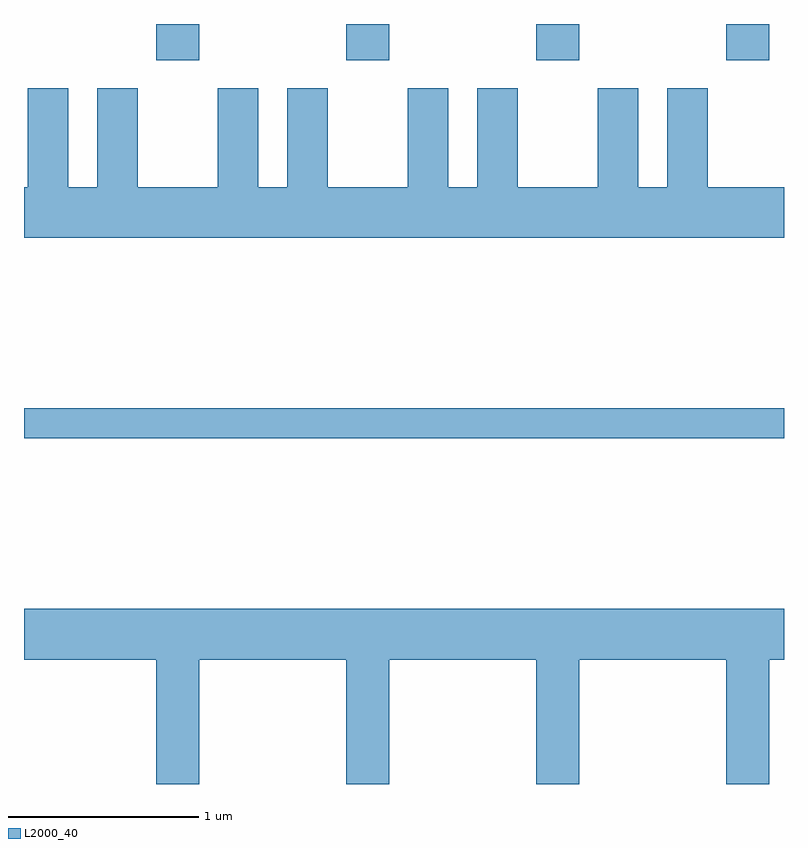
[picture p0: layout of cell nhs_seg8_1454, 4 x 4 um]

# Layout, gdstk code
import gdstk
lib = gdstk.Library(unit=1e-6, precision=1e-09)
def R(c, l, rs):  # rectangles x0, y0, x1, y1
    for r in rs: c.add(gdstk.rectangle(r[:2], r[2:], *l))
def A(c, l, x, y, w, h, nx, ny, dx, dy):  # array of equal rectangles
    R(c, l, [(x+i*dx, y+j*dy, x+i*dx+w, y+j*dy+h) for i in range(nx) for j in range(ny)])
def P(c, l, *ps):  # polygons
    for p in ps: c.add(gdstk.Polygon(p, *l))
L2000_40 = (2000, 40)

nhs_seg8_1454 = lib.new_cell('nhs_seg8_1454')
A(nhs_seg8_1454, L2000_40, 228.306, 1926.151, 0.228, 0.191, 4, 1, 1, 0)
R(nhs_seg8_1454, L2000_40, [(227.611,1924.161,231.611,1924.319)])
P(nhs_seg8_1454, L2000_40, [(231.611,1925.484),(231.209,1925.484),(231.209,1926.004),(230.996,1926.004),(230.996,1925.484),(230.844,1925.484),(230.844,1926.004),(230.631,1926.004),(230.631,1925.484),(230.209,1925.484),(230.209,1926.004),(229.996,1926.004),(229.996,1925.484),(229.844,1925.484),(229.844,1926.004),(229.631,1926.004),(229.631,1925.484),(229.209,1925.484),(229.209,1926.004),(228.996,1926.004),(228.996,1925.484),(228.844,1925.484),(228.844,1926.004),(228.631,1926.004),(228.631,1925.484),(228.209,1925.484),(228.209,1926.004),(227.996,1926.004),(227.996,1925.484),(227.844,1925.484),(227.844,1926.004),(227.631,1926.004),(227.631,1925.484),(227.611,1925.484),(227.611,1925.216),(231.611,1925.216)],
  [(228.534,1922.996),(229.306,1922.996),(229.306,1922.342),(229.534,1922.342),(229.534,1922.996),(230.306,1922.996),(230.306,1922.342),(230.534,1922.342),(230.534,1922.996),(231.306,1922.996),(231.306,1922.342),(231.534,1922.342),(231.534,1922.996),(231.611,1922.996),(231.611,1923.264),(227.611,1923.264),(227.611,1922.996),(228.306,1922.996),(228.306,1922.342),(228.534,1922.342)])

lib.write_gds('nhs_seg8_1454.gds')
